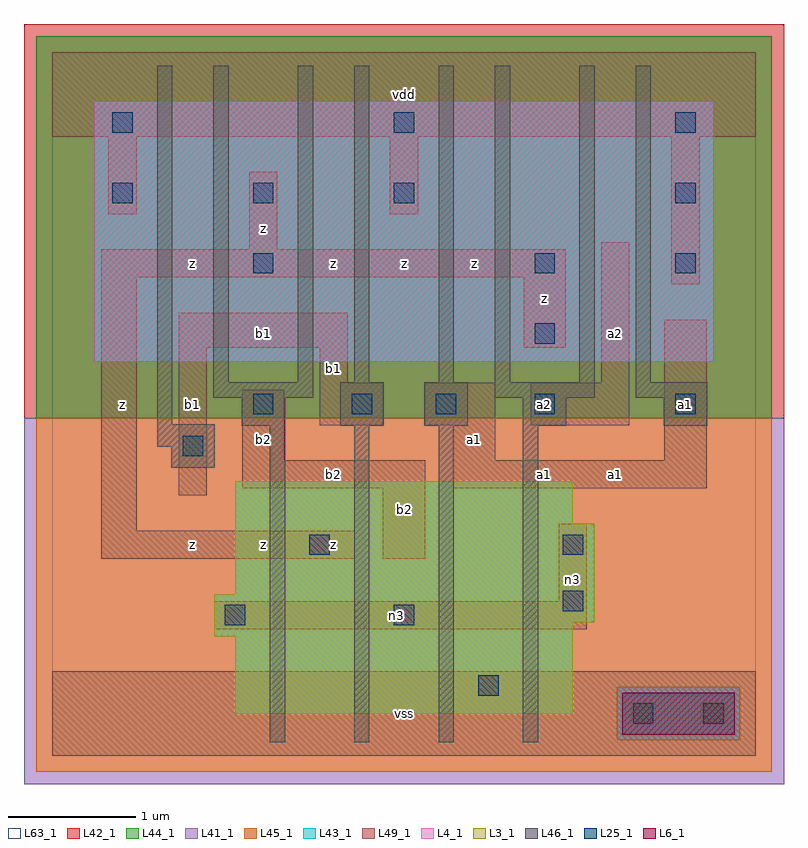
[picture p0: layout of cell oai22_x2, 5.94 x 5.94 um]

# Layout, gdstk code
import gdstk
lib = gdstk.Library(unit=1e-6, precision=1e-09)
def R(c, l, rs):  # rectangles x0, y0, x1, y1
    for r in rs: c.add(gdstk.rectangle(r[:2], r[2:], *l))
def A(c, l, x, y, w, h, nx, ny, dx, dy):  # array of equal rectangles
    R(c, l, [(x+i*dx, y+j*dy, x+i*dx+w, y+j*dy+h) for i in range(nx) for j in range(ny)])
L3_1 = (3, 1)
L4_1 = (4, 1)
L6_1 = (6, 1)
L25_1 = (25, 1)
L41_1 = (41, 1)
L42_1 = (42, 1)
L43_1 = (43, 1)
L44_1 = (44, 1)
L45_1 = (45, 1)
L46_1 = (46, 1)
L49_1 = (49, 1)
L63_1 = (63, 1)

oai22_x2 = lib.new_cell('oai22_x2')
R(oai22_x2, L3_1, [(1.43,0.33,4.07,0.935), (1.265,0.935,4.07,1.045), (1.265,1.045,4.235,1.265), (1.43,1.265,4.235,1.815), (1.43,1.815,4.07,2.145)])
R(oai22_x2, L4_1, [(0.33,3.08,5.17,5.115)])
R(oai22_x2, L6_1, [(4.455,0.165,5.335,0.495)])
A(oai22_x2, L25_1, 3.77, 2.67, 0.16, 0.16, 1, 3, 0, 0.55)
A(oai22_x2, L25_1, 0.47, 4.32, 0.16, 0.16, 3, 1, 1.1, 0)
A(oai22_x2, L25_1, 0.47, 4.87, 0.16, 0.16, 3, 1, 2.2, 0)
R(oai22_x2, L25_1, [(4.54,0.25,4.7,0.41), (5.09,0.25,5.25,0.41), (3.33,0.47,3.49,0.63), (1.35,1.02,1.51,1.18), (2.67,1.02,2.83,1.18), (3.99,1.13,4.15,1.29), (2.01,1.57,2.17,1.73), (3.99,1.57,4.15,1.73), (1.02,2.34,1.18,2.5), (1.57,2.67,1.73,2.83), (2.34,2.67,2.5,2.83), (3,2.67,3.16,2.83), (4.87,2.67,5.03,2.83), (1.57,3.77,1.73,3.93), (4.87,3.77,5.03,3.93), (4.87,4.32,5.03,4.48)])
R(oai22_x2, L41_1, [(-0.22,-0.22,5.72,2.64)])
R(oai22_x2, L42_1, [(-0.22,2.64,5.72,5.72)])
R(oai22_x2, L43_1, [(4.455,0.165,5.335,0.495), (1.43,0.33,4.07,0.935), (1.265,0.935,4.07,1.045), (1.265,1.045,4.235,1.265), (1.43,1.265,4.235,1.815), (1.43,1.815,4.07,2.145), (0.33,3.08,5.17,5.115)])
R(oai22_x2, L44_1, [(4.415,0.125,5.375,0.535), (-0.125,2.64,5.625,5.625)])
R(oai22_x2, L45_1, [(-0.125,-0.125,5.625,0.125), (-0.125,0.125,4.415,0.535), (5.375,0.125,5.625,0.535), (-0.125,0.535,5.625,2.64)])
A(oai22_x2, L46_1, 1.7, 0.105, 0.12, 2.475, 4, 1, 0.66, 0)
R(oai22_x2, L46_1, [(0.93,2.25,1.27,2.415), (0.82,2.415,1.27,2.59), (1.48,2.58,1.82,2.8), (2.25,2.58,2.59,2.92), (2.91,2.58,3.25,2.92), (3.68,2.58,4.02,2.8), (4.78,2.58,5.12,2.8), (0.82,2.59,0.94,5.395), (1.26,2.8,2.04,2.92), (3.46,2.8,4.24,2.92), (4.56,2.8,5.12,2.92), (1.26,2.92,1.38,5.395), (1.92,2.92,2.04,5.395), (2.36,2.92,2.48,5.395), (3.02,2.92,3.14,5.395), (3.46,2.92,3.58,5.395), (4.12,2.92,4.24,5.395), (4.56,2.92,4.68,5.395)])
R(oai22_x2, L49_1, [(0,0,5.5,0.66), (1.265,0.99,4.18,1.21), (3.96,1.21,4.18,1.815), (0.385,1.54,2.365,1.76), (2.585,1.54,2.915,2.09), (0.385,1.76,0.66,3.74), (0.99,2.035,1.21,3.19), (1.485,2.09,2.915,2.31), (3.135,2.09,5.115,2.31), (1.485,2.31,1.815,2.86), (3.135,2.31,3.465,2.585), (4.785,2.31,5.115,3.41), (2.09,2.585,2.585,2.915), (2.915,2.585,3.465,2.915), (3.74,2.585,4.51,2.915), (2.09,2.915,2.31,3.19), (4.29,2.915,4.51,4.015), (0.99,3.19,2.31,3.465), (3.685,3.19,4.015,3.74), (4.84,3.685,5.06,4.84), (0.385,3.74,4.015,3.96), (1.54,3.96,1.76,4.565), (0.44,4.235,0.66,4.84), (2.64,4.235,2.86,4.84), (0,4.84,5.5,5.5)])
R(oai22_x2, L63_1, [(0,0,5.5,5.5)])
oai22_x2.add(gdstk.Label('z', (0.55,2.75), layer=49, texttype=1))
oai22_x2.add(gdstk.Label('z', (1.1,1.65), layer=49, texttype=1))
oai22_x2.add(gdstk.Label('z', (1.65,1.65), layer=49, texttype=1))
oai22_x2.add(gdstk.Label('b1', (1.1,2.75), layer=49, texttype=1))
oai22_x2.add(gdstk.Label('b2', (1.65,2.475), layer=49, texttype=1))
oai22_x2.add(gdstk.Label('b1', (1.65,3.3), layer=49, texttype=1))
oai22_x2.add(gdstk.Label('z', (1.1,3.85), layer=49, texttype=1))
oai22_x2.add(gdstk.Label('z', (1.65,4.125), layer=49, texttype=1))
oai22_x2.add(gdstk.Label('vss', (2.75,0.33), layer=49, texttype=1))
oai22_x2.add(gdstk.Label('z', (2.2,1.65), layer=49, texttype=1))
oai22_x2.add(gdstk.Label('b2', (2.75,1.925), layer=49, texttype=1))
oai22_x2.add(gdstk.Label('b2', (2.2,2.2), layer=49, texttype=1))
oai22_x2.add(gdstk.Label('b1', (2.2,3.025), layer=49, texttype=1))
oai22_x2.add(gdstk.Label('z', (2.2,3.85), layer=49, texttype=1))
oai22_x2.add(gdstk.Label('z', (2.75,3.85), layer=49, texttype=1))
oai22_x2.add(gdstk.Label('vdd', (2.75,5.17), layer=49, texttype=1))
oai22_x2.add(gdstk.Label('n3', (4.07,1.375), layer=49, texttype=1))
oai22_x2.add(gdstk.Label('n3', (2.695,1.1), layer=49, texttype=1))
oai22_x2.add(gdstk.Label('a1', (3.85,2.2), layer=49, texttype=1))
oai22_x2.add(gdstk.Label('a1', (3.3,2.475), layer=49, texttype=1))
oai22_x2.add(gdstk.Label('a2', (3.85,2.75), layer=49, texttype=1))
oai22_x2.add(gdstk.Label('z', (3.3,3.85), layer=49, texttype=1))
oai22_x2.add(gdstk.Label('z', (3.85,3.575), layer=49, texttype=1))
oai22_x2.add(gdstk.Label('a1', (4.4,2.2), layer=49, texttype=1))
oai22_x2.add(gdstk.Label('a1', (4.95,2.75), layer=49, texttype=1))
oai22_x2.add(gdstk.Label('a2', (4.4,3.3), layer=49, texttype=1))

lib.write_gds('oai22_x2.gds')
